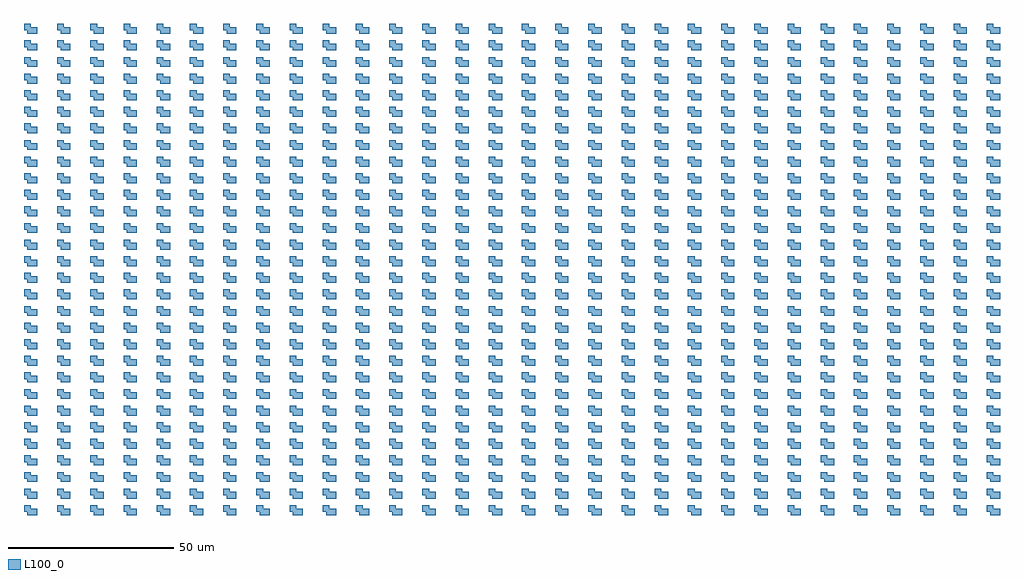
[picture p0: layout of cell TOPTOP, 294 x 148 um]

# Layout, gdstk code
import gdstk
lib = gdstk.Library(unit=1e-6, precision=1e-09)
def R(c, l, rs):  # rectangles x0, y0, x1, y1
    for r in rs: c.add(gdstk.rectangle(r[:2], r[2:], *l))
def A(c, l, x, y, w, h, nx, ny, dx, dy):  # array of equal rectangles
    R(c, l, [(x+i*dx, y+j*dy, x+i*dx+w, y+j*dy+h) for i in range(nx) for j in range(ny)])
L100_0 = (100, 0)

toptop = lib.new_cell('TOPTOP')
A(toptop, L100_0, 2.2, -0.6, 3, 2, 30, 30, 10, 5)
A(toptop, L100_0, 1.2, 0.4, 2, 2, 30, 30, 10, 5)

lib.write_gds('TOPTOP.gds')
